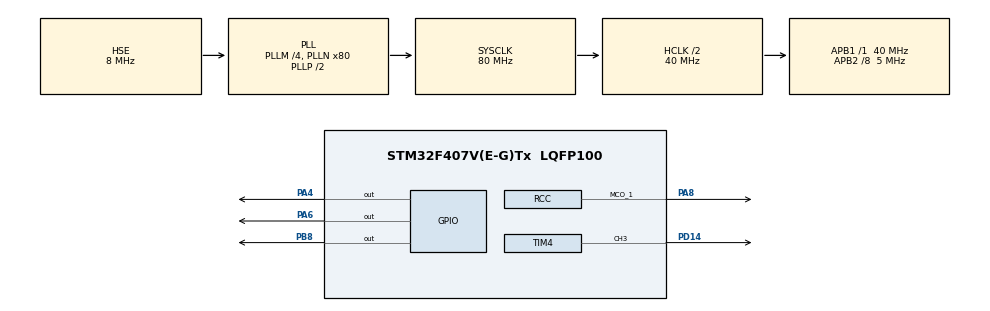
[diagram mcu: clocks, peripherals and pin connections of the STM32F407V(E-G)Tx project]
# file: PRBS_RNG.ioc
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Mcu.Family=STM32F4
Mcu.Name=STM32F407V(E-G)Tx
Mcu.Package=LQFP100
NVIC.HASH_RNG_IRQn=true\:0\:0\:false\:false\:true\:true\:true
NVIC.PriorityGroup=NVIC_PRIORITYGROUP_0
NVIC.TIM4_IRQn=true\:0\:0\:false\:false\:true\:true\:true
PA4.Signal=GPIO_Output
PA6.Signal=GPIO_Output
PA8.Mode=Clock-out-1
PA8.Signal=RCC_MCO_1
PB8.Signal=GPIO_Output
PD14.Signal=S_TIM4_CH3
PH0-OSC_IN.Mode=HSE-External-Oscillator
PH0-OSC_IN.Signal=RCC_OSC_IN
PH1-OSC_OUT.Mode=HSE-External-Oscillator
PH1-OSC_OUT.Signal=RCC_OSC_OUT
ProjectManager.HeapSize=0x200
ProjectManager.StackSize=0x400
ProjectManager.TargetToolchain=MDK-ARM V5
RCC.48MHZClocksFreq_Value=40000000
RCC.AHBCLKDivider=RCC_SYSCLK_DIV2
RCC.AHBFreq_Value=40000000
RCC.APB1Freq_Value=40000000
RCC.APB1TimFreq_Value=40000000
RCC.APB2CLKDivider=RCC_HCLK_DIV8
RCC.APB2Freq_Value=5000000
RCC.APB2TimFreq_Value=10000000
RCC.CortexFreq_Value=40000000
RCC.HCLKFreq_Value=40000000
RCC.HSE_VALUE=8000000
RCC.HSI_VALUE=16000000
RCC.LSE_VALUE=32768
RCC.PLLM=4
RCC.PLLN=80
RCC.PLLSourceVirtual=RCC_PLLSOURCE_HSE
RCC.RCC_MCO1Source=RCC_MCO1SOURCE_HSE
RCC.SYSCLKFreq_VALUE=80000000
RCC.SYSCLKSource=RCC_SYSCLKSOURCE_PLLCLK
RCC.VCOOutputFreq_Value=160000000
SH.S_TIM4_CH3.0=TIM4_CH3,Output Compare3 CH3
TIM4.AutoReloadPreload=TIM_AUTORELOAD_PRELOAD_ENABLE
TIM4.Channel-Output\ Compare3\ CH3=TIM_CHANNEL_3
TIM4.Period=4
VP_RNG_VS_RNG.Mode=RNG_Activate
VP_TIM4_VS_ClockSourceINT.Mode=Internal
board=STM32F407G-DISC1

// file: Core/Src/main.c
/* USER CODE BEGIN Header */
/**
  ******************************************************************************
  * @file           : main.c
  * @brief          : Main program body
  ******************************************************************************
  * @attention
  *
  * <h2><center>&copy; Copyright (c) 2021 STMicroelectronics.
  * All rights reserved.</center></h2>
  *
  * This software component is licensed by ST under BSD 3-Clause license,
  * the "License"; You may not use this file except in compliance with the
  * License. You may obtain a copy of the License at:
  *                        opensource.org/licenses/BSD-3-Clause
  *
  ******************************************************************************
  */
/* USER CODE END Header */
#include "main.h"

/* USER CODE BEGIN Includes */
#include <stdio.h>
#include <stdint.h>

/* USER CODE END Includes */

RNG_HandleTypeDef hrng;

TIM_HandleTypeDef htim4;

void SystemClock_Config(void);
static void MX_GPIO_Init(void);
static void MX_RNG_Init(void);
static void MX_TIM4_Init(void);

/* USER CODE BEGIN 0 */

// Globalne varijable

#define BUFF_L 64

uint32_t RandomNum;
uint32_t bin_test;
uint32_t p_index = 0;
int i,br=0, bin_buff[32];
int I_buff[BUFF_L];
int Q_buff[BUFF_L];   // Bit array - mijenjati njihovu duljinu po potrebi
																	// PRBS(11) - 2048
																	// PRBS(9) - 512
																	// PRBS(7) - 128
																	// TrueRNG - nije bitna duljina

/*---------------------------------------------- Generator pravih slucajnih bitova --------------------------------------------------- */
// Koristena RNG konfiguracija
// poziv funkcije: TrueRNG();

void TrueRNG(void)
{

	HAL_RNG_GenerateRandomNumber(&hrng, &RandomNum);

	bin_test = RandomNum;
	for (i=31;i>=0;i--)
		{
			if(bin_test & 1)
				{
					bin_buff[i] = 1;
	        bin_test >>= 1;
	      }
	      else
	      {
					bin_buff[i] = 0;
	        bin_test >>= 1;
	      }
	  }
	for(i=0;i<32;i=i+2)
	 {
	            if((bin_buff[i] == 0) && (bin_buff[i+1] == 0))
	            {
	                I_buff[br] = 0;
	                Q_buff[br] = 0;
	                br++;

	            }
	            if((bin_buff[i] == 0) && (bin_buff[i+1] == 1))
	            {
	                I_buff[br] = 0;
	                Q_buff[br] = 1;
	                br++;

	            }
	            if((bin_buff[i] == 1) && (bin_buff[i+1] == 0))
	            {
	                I_buff[br] = 1;
	                Q_buff[br] = 0;
	                br++;

	            }
	            if((bin_buff[i] == 1) && (bin_buff[i+1] == 1))
	            {
	                I_buff[br] = 1;
	                Q_buff[br] = 1;
	                br++;

	            }

	  }

//  printf("Generiran = %08X\n", RandomNum);
}

/*------------------------------------------------------ PRBS 7 --------------------------------------------------------------- */
// x^7 + x^6 + 1
// poziv funkcije: PRBS_7();

uint32_t get_bit_7 (uint32_t pp)
{
	uint32_t p_v1;
	uint32_t p_v2;

	if (pp & (0x1<<6))
	{
		p_v1 = 1;
	}
	else
	{
		p_v1 = 0;
	}

	if (pp & (0x1<<5))
	{
		p_v2 = 1;
	}
	else
	{
		p_v2 = 0;
	}
	return (p_v1 ^ p_v2);
}

void PRBS_7 (void)
{

	uint32_t seed = 0x7f;
	uint32_t move_time = 7;

	while (1)
	{
		if (get_bit_7(seed))
		{
			seed <<=1;
			seed += 1;
			move_time++;
		}
		else
		{
			seed <<=1;
			move_time++;
		}
		p_index++;

		if ((seed & 0x7f) == 0x7f)
		{
			break;
		}

		if (move_time == 32)
		{
		    bin_test = seed;
            for (i=31;i>=0;i--)
	        {
	            if(bin_test & 1)
	            {
	                bin_buff[i] = 1;
	                bin_test >>= 1;
	            }
	            else
	            {
	                bin_buff[i] = 0;
	                bin_test >>= 1;
	            }

	        }

	        for(i=0;i<32;i=i+2)
	        {

	            if((bin_buff[i] == 0) && (bin_buff[i+1] == 0))
	            {
	                I_buff[br] = 0;
	                Q_buff[br] = 0;
	                br++;

	            }
	            if((bin_buff[i] == 0) && (bin_buff[i+1] == 1))
	            {
	                I_buff[br] = 0;
	                Q_buff[br] = 1;
	                br++;

	            }
	            if((bin_buff[i] == 1) && (bin_buff[i+1] == 0))
	            {
	                I_buff[br] = 1;
	                Q_buff[br] = 0;
	                br++;

	            }
	            if((bin_buff[i] == 1) && (bin_buff[i+1] == 1))
	            {
	                I_buff[br] = 1;
	                Q_buff[br] = 1;
	                br++;

	            }

	        }
			//printf ("%08X\n", seed);
			move_time =0;
		}
	}

	//printf ("\nPeriod ponavljanja je %u\n", p_index);

}
/*----------------------------------------------------------- PRBS 9 ------------------------------------------------------------- */
// x^9 + x^5 + 1
// poziv funkcije: PRBS_9();

uint32_t get_bit_9 (uint32_t pp)
{
	uint32_t p_v1;
	uint32_t p_v2;

	if (pp & (0x1<<8))
	{
		p_v1 = 1;
	}
	else
	{
		p_v1 = 0;
	}

	if (pp & (0x1<<4))
	{
		p_v2 = 1;
	}
	else
	{
		p_v2 = 0;
	}
	return (p_v1 ^ p_v2);
}

void PRBS_9 (void)
{
	uint32_t seed = 0x1ff;
	uint32_t move_time = 9;

	while (1)
	{
		if (get_bit_9(seed))
		{
			seed <<=1;
			seed += 1;
			move_time++;
		}
		else
		{
			seed <<=1;
			move_time++;
		}
		p_index ++;

		if ((seed & 0x1ff) == 0x1ff)
		{
			break;
		}

		if (move_time == 32)
		{
		    bin_test = seed;
            for (i=31;i>=0;i--)
	        {
	            if(bin_test & 1)
	            {
	                bin_buff[i] = 1;
	                bin_test >>= 1;
	            }
	            else
	            {
	                bin_buff[i] = 0;
	                bin_test >>= 1;
	            }

	        }

	        for(i=0;i<32;i=i+2)
	        {

	            if((bin_buff[i] == 0) && (bin_buff[i+1] == 0))
	            {
	                I_buff[br] = 0;
	                Q_buff[br] = 0;
	                br++;
	            }
	            if((bin_buff[i] == 0) && (bin_buff[i+1] == 1))
	            {
	                I_buff[br] = 0;
	                Q_buff[br] = 1;
	                br++;
	            }
	            if((bin_buff[i] == 1) && (bin_buff[i+1] == 0))
	            {
	                I_buff[br] = 1;
	                Q_buff[br] = 0;
	                br++;
	            }
	            if((bin_buff[i] == 1) && (bin_buff[i+1] == 1))
	            {
	                I_buff[br] = 1;
	                Q_buff[br] = 1;
	                br++;
	            }

	        }
			//printf ("%08X\n", seed);
			move_time =0;
		}
	}

	//printf ("\nPeriod ponavljanja je %u\n", p_index);

}

/*-------------------------------------------------- PRBS 11 ------------------------------------------------------*/
// x^11 + x^9 + 1
// poziv funkcije: PRBS11();

uint32_t get_bit_11 (uint32_t pp)
{
	uint32_t p_v1;
	uint32_t p_v2;

	if (pp & (0x1<<10))
	{
		p_v1 = 1;
	}
	else
	{
		p_v1 = 0;
	}

	if (pp & (0x1<<8))
	{
		p_v2 = 1;
	}
	else
	{
		p_v2 = 0;
	}
	return (p_v1 ^ p_v2);
}

void PRBS_11 (void)
{
	uint32_t  seed = 0x7ff;
	uint32_t  move_time = 11;

	while (1)
	{
		if (get_bit_11(seed))
		{
			seed <<=1;
			seed += 1;
			move_time++;
		}
		else
		{
			seed <<=1;
			move_time++;
		}
		p_index ++;

		if ((seed & 0x7ff) == 0x7ff)
		{
			break;
		}

		if (move_time == 32)
		{
		    bin_test = seed;
            for (i=31;i>=0;i--)
	        {
	            if(bin_test & 1)
	            {
	                bin_buff[i] = 1;
	                bin_test >>= 1;
	            }
	            else
	            {
	                bin_buff[i] = 0;
	                bin_test >>= 1;
	            }

	        }

	        for(i=0;i<32;i=i+2)
	        {

	            if((bin_buff[i] == 0) && (bin_buff[i+1] == 0))
	            {
	                I_buff[br] = 0;
	                Q_buff[br] = 0;

	                br++;
	            }
	            if((bin_buff[i] == 0) && (bin_buff[i+1] == 1))
	            {
	                I_buff[br] = 0;
	                Q_buff[br] = 1;

	                br++;
	            }
	            if((bin_buff[i] == 1) && (bin_buff[i+1] == 0))
	            {
	                I_buff[br] = 1;
	                Q_buff[br] = 0;

	                br++;
	            }
	            if((bin_buff[i] == 1) && (bin_buff[i+1] == 1))
	            {
	                I_buff[br] = 1;
	                Q_buff[br] = 1;

	                br++;
	            }

	        }
			//printf ("%08X\n", seed);
			move_time =0;
		}

	}

	//printf ("\nPeriod ponavljanja je %u\n", p_index);

}

/* USER CODE END 0 */

int main(void)
{
  /* USER CODE BEGIN 1 */
	//unsigned int flag = 0;

	PRBS_7();  // poziv funkcije

  /* USER CODE END 1 */

  /* MCU Configuration--------------------------------------------------------*/

  /* Reset of all peripherals, Initializes the Flash interface and the Systick. */
  HAL_Init();

  /* Configure the system clock */
  SystemClock_Config();

  /* Initialize all configured peripherals */
  MX_GPIO_Init();
  MX_RNG_Init();
  MX_TIM4_Init();
  /* USER CODE BEGIN 2 */

	HAL_TIM_Base_Start_IT(&htim4);
	//HAL_TIM_OnePulse_Start_IT(&htim4, TIM_CHANNEL_3);
  /* USER CODE END 2 */

  /* Infinite loop */
  while (1)
  {

  }
}

void SystemClock_Config(void)
{
  RCC_OscInitTypeDef RCC_OscInitStruct = {0};
  RCC_ClkInitTypeDef RCC_ClkInitStruct = {0};

  /** Configure the main internal regulator output voltage
  */
  __HAL_RCC_PWR_CLK_ENABLE();
  __HAL_PWR_VOLTAGESCALING_CONFIG(PWR_REGULATOR_VOLTAGE_SCALE1);
  /** Initializes the RCC Oscillators according to the specified parameters
  * in the RCC_OscInitTypeDef structure.
  */
  RCC_OscInitStruct.OscillatorType = RCC_OSCILLATORTYPE_HSE;
  RCC_OscInitStruct.HSEState = RCC_HSE_ON;
  RCC_OscInitStruct.PLL.PLLState = RCC_PLL_ON;
  RCC_OscInitStruct.PLL.PLLSource = RCC_PLLSOURCE_HSE;
  RCC_OscInitStruct.PLL.PLLM = 4;
  RCC_OscInitStruct.PLL.PLLN = 80;
  RCC_OscInitStruct.PLL.PLLP = RCC_PLLP_DIV2;
  RCC_OscInitStruct.PLL.PLLQ = 4;
  if (HAL_RCC_OscConfig(&RCC_OscInitStruct) != HAL_OK)
  {
    Error_Handler();
  }
  /** Initializes the CPU, AHB and APB buses clocks
  */
  RCC_ClkInitStruct.ClockType = RCC_CLOCKTYPE_HCLK|RCC_CLOCKTYPE_SYSCLK
                              |RCC_CLOCKTYPE_PCLK1|RCC_CLOCKTYPE_PCLK2;
  RCC_ClkInitStruct.SYSCLKSource = RCC_SYSCLKSOURCE_PLLCLK;
  RCC_ClkInitStruct.AHBCLKDivider = RCC_SYSCLK_DIV2;
  RCC_ClkInitStruct.APB1CLKDivider = RCC_HCLK_DIV1;
  RCC_ClkInitStruct.APB2CLKDivider = RCC_HCLK_DIV8;

  if (HAL_RCC_ClockConfig(&RCC_ClkInitStruct, FLASH_LATENCY_1) != HAL_OK)
  {
    Error_Handler();
  }
  HAL_RCC_MCOConfig(RCC_MCO1, RCC_MCO1SOURCE_HSE, RCC_MCODIV_1);
}

static void MX_RNG_Init(void)
{

  hrng.Instance = RNG;
  if (HAL_RNG_Init(&hrng) != HAL_OK)
  {
    Error_Handler();
  }

}

static void MX_TIM4_Init(void)
{

  TIM_ClockConfigTypeDef sClockSourceConfig = {0};
  TIM_MasterConfigTypeDef sMasterConfig = {0};
  TIM_OC_InitTypeDef sConfigOC = {0};

  htim4.Instance = TIM4;
  htim4.Init.Prescaler = 0;
  htim4.Init.CounterMode = TIM_COUNTERMODE_UP;
  htim4.Init.Period = 4;
  htim4.Init.ClockDivision = TIM_CLOCKDIVISION_DIV1;
  htim4.Init.AutoReloadPreload = TIM_AUTORELOAD_PRELOAD_ENABLE;
  if (HAL_TIM_Base_Init(&htim4) != HAL_OK)
  {
    Error_Handler();
  }
  sClockSourceConfig.ClockSource = TIM_CLOCKSOURCE_INTERNAL;
  if (HAL_TIM_ConfigClockSource(&htim4, &sClockSourceConfig) != HAL_OK)
  {
    Error_Handler();
  }
  if (HAL_TIM_OC_Init(&htim4) != HAL_OK)
  {
    Error_Handler();
  }
  sMasterConfig.MasterOutputTrigger = TIM_TRGO_RESET;
  sMasterConfig.MasterSlaveMode = TIM_MASTERSLAVEMODE_DISABLE;
  if (HAL_TIMEx_MasterConfigSynchronization(&htim4, &sMasterConfig) != HAL_OK)
  {
    Error_Handler();
  }
  sConfigOC.OCMode = TIM_OCMODE_TIMING;
  sConfigOC.Pulse = 0;
  sConfigOC.OCPolarity = TIM_OCPOLARITY_HIGH;
  sConfigOC.OCFastMode = TIM_OCFAST_DISABLE;
  if (HAL_TIM_OC_ConfigChannel(&htim4, &sConfigOC, TIM_CHANNEL_3) != HAL_OK)
  {
    Error_Handler();
  }
  HAL_TIM_MspPostInit(&htim4);

}

static void MX_GPIO_Init(void)
{
  GPIO_InitTypeDef GPIO_InitStruct = {0};

  /* GPIO Ports Clock Enable */
  __HAL_RCC_GPIOH_CLK_ENABLE();
  __HAL_RCC_GPIOA_CLK_ENABLE();
  __HAL_RCC_GPIOD_CLK_ENABLE();
  __HAL_RCC_GPIOB_CLK_ENABLE();

  /*Configure GPIO pin Output Level */
  HAL_GPIO_WritePin(GPIOA, GPIO_PIN_4|GPIO_PIN_6, GPIO_PIN_RESET);

  /*Configure GPIO pin Output Level */
  HAL_GPIO_WritePin(GPIOB, GPIO_PIN_8, GPIO_PIN_RESET);

  /*Configure GPIO pins : PA4 PA6 */
  GPIO_InitStruct.Pin = GPIO_PIN_4|GPIO_PIN_6;
  GPIO_InitStruct.Mode = GPIO_MODE_OUTPUT_PP;
  GPIO_InitStruct.Pull = GPIO_NOPULL;
  GPIO_InitStruct.Speed = GPIO_SPEED_FREQ_LOW;
  HAL_GPIO_Init(GPIOA, &GPIO_InitStruct);

  /*Configure GPIO pin : PA8 */
  GPIO_InitStruct.Pin = GPIO_PIN_8;
  GPIO_InitStruct.Mode = GPIO_MODE_AF_PP;
  GPIO_InitStruct.Pull = GPIO_NOPULL;
  GPIO_InitStruct.Speed = GPIO_SPEED_FREQ_LOW;
  GPIO_InitStruct.Alternate = GPIO_AF0_MCO;
  HAL_GPIO_Init(GPIOA, &GPIO_InitStruct);

  /*Configure GPIO pin : PB8 */
  GPIO_InitStruct.Pin = GPIO_PIN_8;
  GPIO_InitStruct.Mode = GPIO_MODE_OUTPUT_PP;
  GPIO_InitStruct.Pull = GPIO_NOPULL;
  GPIO_InitStruct.Speed = GPIO_SPEED_FREQ_LOW;
  HAL_GPIO_Init(GPIOB, &GPIO_InitStruct);

}

void Error_Handler(void)
{
  __disable_irq();
  while (1)
  {
  }
}

/************************ (C) COPYRIGHT STMicroelectronics *****END OF FILE****/
